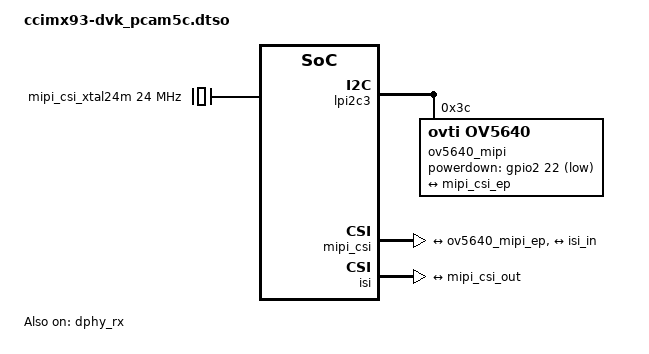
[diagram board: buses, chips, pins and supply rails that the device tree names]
// SPDX-License-Identifier: (GPL-2.0+ OR MIT)
/*
 * Copyright 2026 Digi International Inc.
 */

/dts-v1/;
/plugin/;

#include <dt-bindings/gpio/gpio.h>

/ {
	fragment@0 {
		target-path = "/";
		__overlay__ {
			overlay-description = "DVK: Digilent Pcam 5C MIPI camera";

			/* fixed 24MHz crystal for mipi camera */
			mipi_csi_xtal24m: mipi_csi_xtal24m {
				compatible = "fixed-clock";
				#clock-cells = <0>;
				clock-frequency = <24000000>;
				clock-output-names = "xtal_24MHz";
			};
		};
	};

	/* Camera sensor */
	fragment@1 {
		target = <&lpi2c3>;
		__overlay__ {
			#address-cells = <1>;
			#size-cells = <0>;

			/* MIPI-CSI camera */
			ov5640_mipi: ov5640_mipi@3c {
				compatible = "ovti,ov5640";
				reg = <0x3c>;
				pinctrl-names = "default";
				pinctrl-0 = <&pinctrl_mipi>;
				clocks = <&mipi_csi_xtal24m>;
				clock-names = "xclk";
				/* MIPI_CSI1_PWDN#: MCA PA3 */
				powerdown-gpios = <&gpio2 22 GPIO_ACTIVE_LOW>;
				digi,use-pm-ops;
				status = "okay";

				port {
					ov5640_mipi_ep: endpoint {
						remote-endpoint = <&mipi_csi_ep>;
						data-lanes = <1 2>;
						clock-lanes = <0>;
					};
				};
			};
		};
	};

	/* Enable MIPI Rx DPHY */
	fragment@2 {
		target = <&dphy_rx>;
		__overlay__ {
			status = "okay";
		};
	};

	/* Enable MIPI CSI */
	fragment@3 {
		target = <&mipi_csi>;
		__overlay__ {
			status = "okay";

			ports {
				#address-cells = <1>;
				#size-cells = <0>;

				port@0 {
					reg = <0>;

					mipi_csi_ep: endpoint {
						remote-endpoint = <&ov5640_mipi_ep>;
						data-lanes = <1 2>;
						clock-lanes = <0>;
					};
				};

				port@1 {
					reg = <1>;
					mipi_csi_out: endpoint {
						remote-endpoint = <&isi_in>;
					};
				};
			};
		};
	};

	/* Enable the Image Sensing Interface */
	fragment@4 {
		target = <&isi>;
		__overlay__ {
			status = "okay";

			port {
				isi_in: endpoint {
					remote-endpoint = <&mipi_csi_out>;
				};
			};
		};
	};
};
